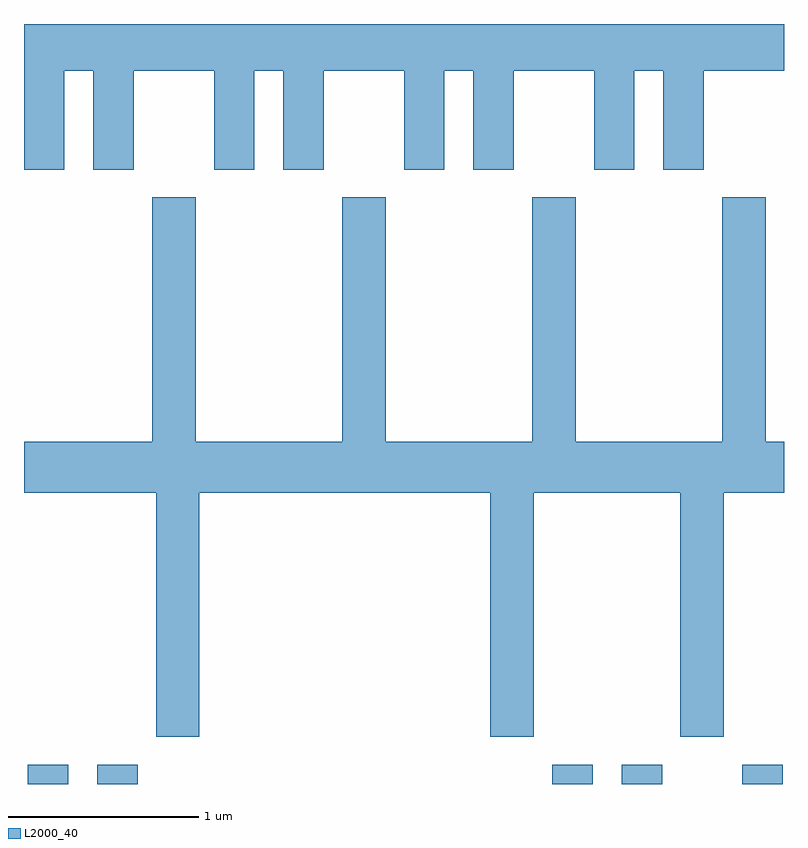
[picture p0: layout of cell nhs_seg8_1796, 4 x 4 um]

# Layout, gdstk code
import gdstk
lib = gdstk.Library(unit=1e-6, precision=1e-09)
def R(c, l, rs):  # rectangles x0, y0, x1, y1
    for r in rs: c.add(gdstk.rectangle(r[:2], r[2:], *l))
def P(c, l, *ps):  # polygons
    for p in ps: c.add(gdstk.Polygon(p, *l))
L2000_40 = (2000, 40)

nhs_seg8_1796 = lib.new_cell('nhs_seg8_1796')
R(nhs_seg8_1796, L2000_40, [(237.631,1930.342,237.844,1930.444), (237.996,1930.342,238.209,1930.444), (240.391,1930.342,240.604,1930.444), (240.756,1930.342,240.969,1930.444), (241.391,1930.342,241.604,1930.444)])
P(nhs_seg8_1796, L2000_40, [(237.824,1934.096),(237.976,1934.096),(237.976,1933.576),(238.189,1933.576),(238.189,1934.096),(238.611,1934.096),(238.611,1933.576),(238.824,1933.576),(238.824,1934.096),(238.976,1934.096),(238.976,1933.576),(239.189,1933.576),(239.189,1934.096),(239.611,1934.096),(239.611,1933.576),(239.824,1933.576),(239.824,1934.096),(239.976,1934.096),(239.976,1933.576),(240.189,1933.576),(240.189,1934.096),(240.611,1934.096),(240.611,1933.576),(240.824,1933.576),(240.824,1934.096),(240.976,1934.096),(240.976,1933.576),(241.189,1933.576),(241.189,1934.096),(241.611,1934.096),(241.611,1934.342),(237.611,1934.342),(237.611,1933.576),(237.824,1933.576)],
  [(238.534,1931.876),(240.066,1931.876),(240.066,1930.591),(240.294,1930.591),(240.294,1931.876),(241.066,1931.876),(241.066,1930.591),(241.294,1930.591),(241.294,1931.876),(241.611,1931.876),(241.611,1932.144),(241.514,1932.144),(241.514,1933.429),(241.286,1933.429),(241.286,1932.144),(240.514,1932.144),(240.514,1933.429),(240.286,1933.429),(240.286,1932.144),(239.514,1932.144),(239.514,1933.429),(239.286,1933.429),(239.286,1932.144),(238.514,1932.144),(238.514,1933.429),(238.286,1933.429),(238.286,1932.144),(237.611,1932.144),(237.611,1931.876),(238.306,1931.876),(238.306,1930.591),(238.534,1930.591)])

lib.write_gds('nhs_seg8_1796.gds')
